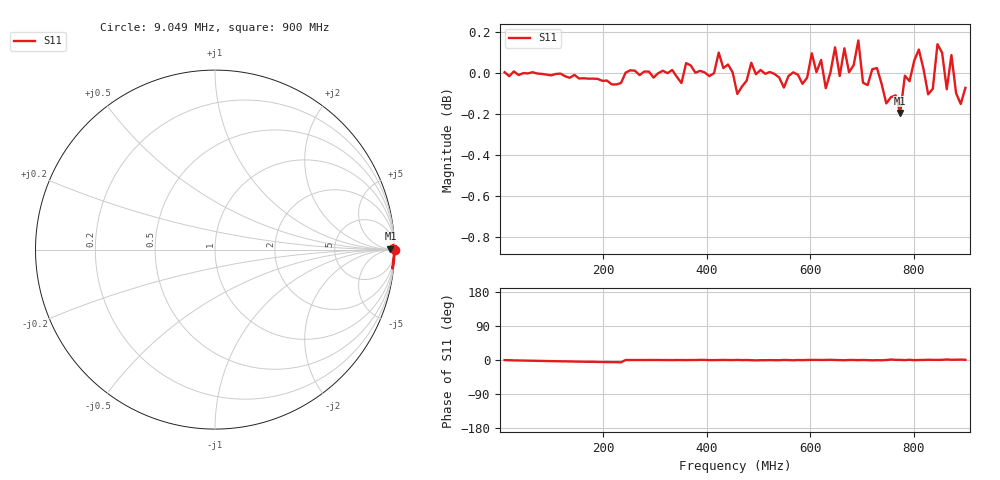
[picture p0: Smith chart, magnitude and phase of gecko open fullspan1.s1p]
! File created by NanoVNA (https://gen111.taobao.com/)
! Start 50000Hz  Stop 899999800Hz  Points 101
# HZ S MA R 50
!S - Parameter data, F S11
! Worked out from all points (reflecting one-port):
!   100 points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, 9.049 MHz to 900 MHz, reference 50 ohm
!   lowest |S11| = -0.2 dB at 774 MHz (marker M1), VSWR 88.59, Z = 4.26e+03 + j858 ohm
!   phase of S11 starts at -0 deg and turns +1 deg over the sweep
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9049400  1 -0.2
1.260429e8  0.9981 -3.6
2.340369e8  0.9943 -6.1
2.430364e8  1 -0.0
3.510304e8  0.9943 -0.1
4.230264e8  1.011 -0.0
4.590243e8  0.9882 0.2
4.950223e8  0.9992 -1.0
5.490193e8  0.9917 0.1
5.670183e8  1 -0.7
6.030163e8  1.011 0.3
6.300148e8  0.9914 0.1
6.840118e8  1.004 0.0
6.930113e8  1.018 -0.3
7.020108e8  0.9945 0.0
7.200098e8  1.002 -0.8
7.380088e8  0.9938 -0.7
7.560078e8  0.9864 1.2
7.740068e8  0.9777 0.3
7.920058e8  0.9953 0.6
8.010053e8  1.007 -0.5
8.100048e8  1.013 -0.0
8.370033e8  0.9911 0.3
8.460028e8  1.016 0.3
8.640018e8  0.9908 1.5
8.730013e8  1.01 0.6
8.820008e8  0.9886 0.7
8.999998e8  0.9916 0.6
